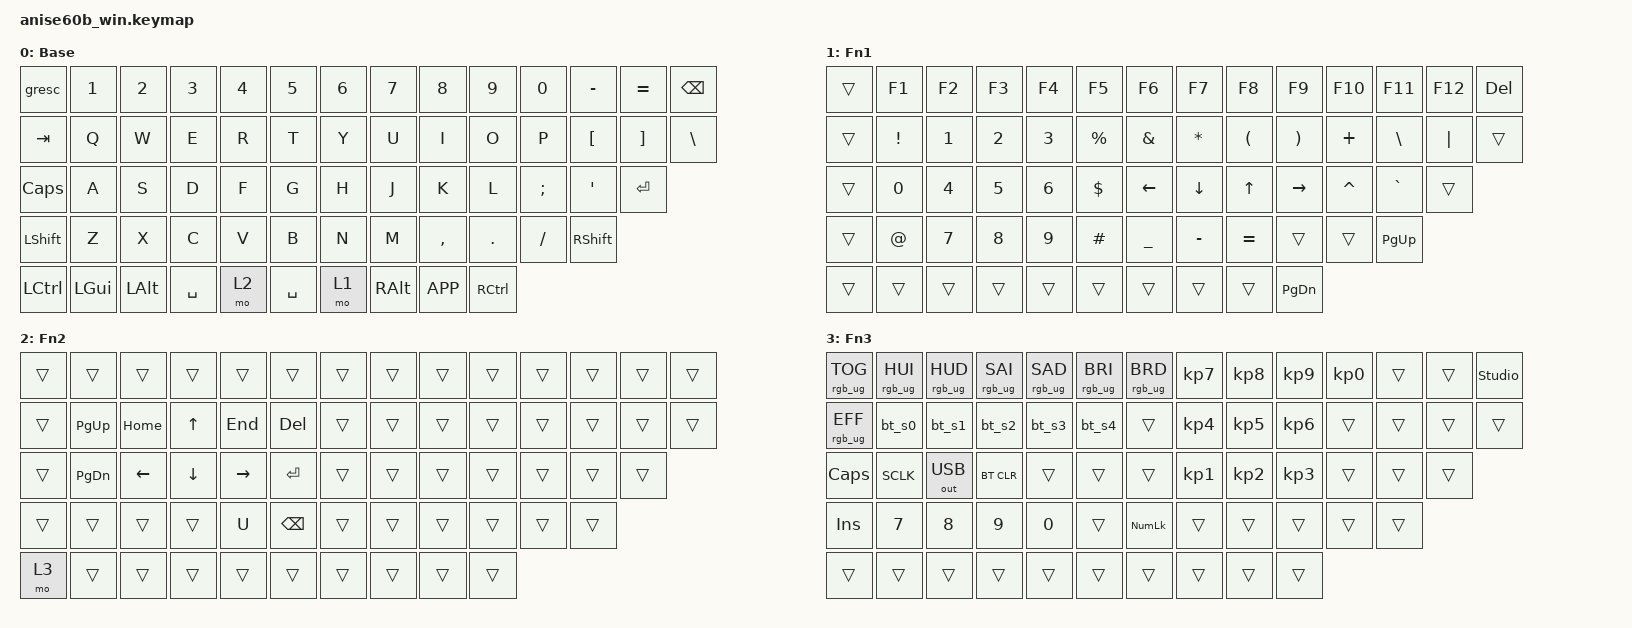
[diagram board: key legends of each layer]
#include <behaviors.dtsi>
#include <dt-bindings/zmk/bt.h>
#include <dt-bindings/zmk/rgb.h>
#include <dt-bindings/zmk/outputs.h>
#include <dt-bindings/zmk/keys.h>

/* Windows standard — What almost every keyboard ships with: Ctrl at the far left, then Win and Alt. Backslash stays backslash.
 * Generated by tools/pagegen/make_presets.py from anise60b. */

/ {
    behaviors {
        gresc: grave_escape {
            compatible = "zmk,behavior-mod-morph";
            label = "GRAVE_ESCAPE";
            #binding-cells = <0>;
            bindings = <&kp ESC>, <&kp GRAVE>;
            mods = <(MOD_LGUI|MOD_LSFT|MOD_RGUI|MOD_RSFT)>;
        };
    };
    macros {
        bt_s0: bt_s0 {
            label = "bt_s0";
            compatible = "zmk,behavior-macro";
            #binding-cells = <0>;
            bindings = <&macro_tap &out OUT_BLE &bt BT_SEL 0>;
        };
        bt_s1: bt_s1 {
            label = "bt_s1";
            compatible = "zmk,behavior-macro";
            #binding-cells = <0>;
            bindings = <&macro_tap &out OUT_BLE &bt BT_SEL 1>;
        };
        bt_s2: bt_s2 {
            label = "bt_s2";
            compatible = "zmk,behavior-macro";
            #binding-cells = <0>;
            bindings = <&macro_tap &out OUT_BLE &bt BT_SEL 2>;
        };
        bt_s3: bt_s3 {
            label = "bt_s3";
            compatible = "zmk,behavior-macro";
            #binding-cells = <0>;
            bindings = <&macro_tap &out OUT_BLE &bt BT_SEL 3>;
        };
        bt_s4: bt_s4 {
            label = "bt_s4";
            compatible = "zmk,behavior-macro";
            #binding-cells = <0>;
            bindings = <&macro_tap &out OUT_BLE &bt BT_SEL 4>;
        };
    };
    keymap {
        compatible = "zmk,keymap";

        default_layer {
            display-name = "Base";
            bindings = <
    &gresc        &kp N1        &kp N2        &kp N3        &kp N4        &kp N5        &kp N6        &kp N7        &kp N8        &kp N9        &kp N0        &kp MINUS     &kp EQUAL     &kp BSPC
    &kp TAB       &kp Q         &kp W         &kp E         &kp R         &kp T         &kp Y         &kp U         &kp I         &kp O         &kp P         &kp LBKT      &kp RBKT      &kp BSLH
    &kp CAPS      &kp A         &kp S         &kp D         &kp F         &kp G         &kp H         &kp J         &kp K         &kp L         &kp SEMI      &kp SQT       &kp RET
    &kp LSHFT     &kp Z         &kp X         &kp C         &kp V         &kp B         &kp N         &kp M         &kp COMMA     &kp DOT       &kp FSLH      &kp RSHFT
    &kp LCTRL     &kp LGUI      &kp LALT      &kp SPACE     &mo 2         &kp SPACE     &mo 1         &kp RALT      &kp K_APP     &kp RCTRL
            >;
        };

        fn_layer {
            display-name = "Fn1";
            bindings = <
    &trans        &kp F1        &kp F2        &kp F3        &kp F4        &kp F5        &kp F6        &kp F7        &kp F8        &kp F9        &kp F10       &kp F11       &kp F12       &kp DEL
    &trans        &kp EXCL      &kp N1        &kp N2        &kp N3        &kp PRCNT     &kp AMPS      &kp STAR      &kp LPAR      &kp RPAR      &kp PLUS      &kp BSLH      &kp PIPE      &trans
    &trans        &kp N0        &kp N4        &kp N5        &kp N6        &kp DLLR      &kp LEFT      &kp DOWN      &kp UP        &kp RIGHT     &kp CARET     &kp GRAVE     &trans
    &trans        &kp AT        &kp N7        &kp N8        &kp N9        &kp HASH      &kp UNDER     &kp MINUS     &kp EQUAL     &trans        &trans        &kp PG_UP
    &trans        &trans        &trans        &trans        &trans        &trans        &trans        &trans        &trans        &kp PG_DN
            >;
        };

        fn2_layer {
            display-name = "Fn2";
            bindings = <
    &trans        &trans        &trans        &trans        &trans        &trans        &trans        &trans        &trans        &trans        &trans        &trans        &trans        &trans
    &trans        &kp PG_UP     &kp HOME      &kp UP        &kp END       &kp DEL       &trans        &trans        &trans        &trans        &trans        &trans        &trans        &trans
    &trans        &kp PG_DN     &kp LEFT      &kp DOWN      &kp RIGHT     &kp RET       &trans        &trans        &trans        &trans        &trans        &trans        &trans
    &trans        &trans        &trans        &trans        &kp U         &kp BSPC      &trans        &trans        &trans        &trans        &trans        &trans
    &mo 3         &trans        &trans        &trans        &trans        &trans        &trans        &trans        &trans        &trans
            >;
        };

        kbd_func_layer {
            display-name = "Fn3";
            bindings = <
    &rgb_ug RGB_TOG  &rgb_ug RGB_HUI  &rgb_ug RGB_HUD  &rgb_ug RGB_SAI  &rgb_ug RGB_SAD  &rgb_ug RGB_BRI  &rgb_ug RGB_BRD  &kp KP_N7     &kp KP_N8     &kp KP_N9     &kp KP_N0     &trans        &trans        &studio_unlock
    &rgb_ug RGB_EFF  &bt_s0        &bt_s1        &bt_s2        &bt_s3        &bt_s4        &trans        &kp KP_N4     &kp KP_N5     &kp KP_N6     &trans        &trans        &trans        &trans
    &kp CAPS      &kp SCLK      &out OUT_USB  &bt BT_CLR    &trans        &trans        &trans        &kp KP_N1     &kp KP_N2     &kp KP_N3     &trans        &trans        &trans
    &kp INS       &kp N7        &kp N8        &kp N9        &kp N0        &trans        &kp KP_NUM    &trans        &trans        &trans        &trans        &trans
    &trans        &trans        &trans        &trans        &trans        &trans        &trans        &trans        &trans        &trans
            >;
        };
    };
};
